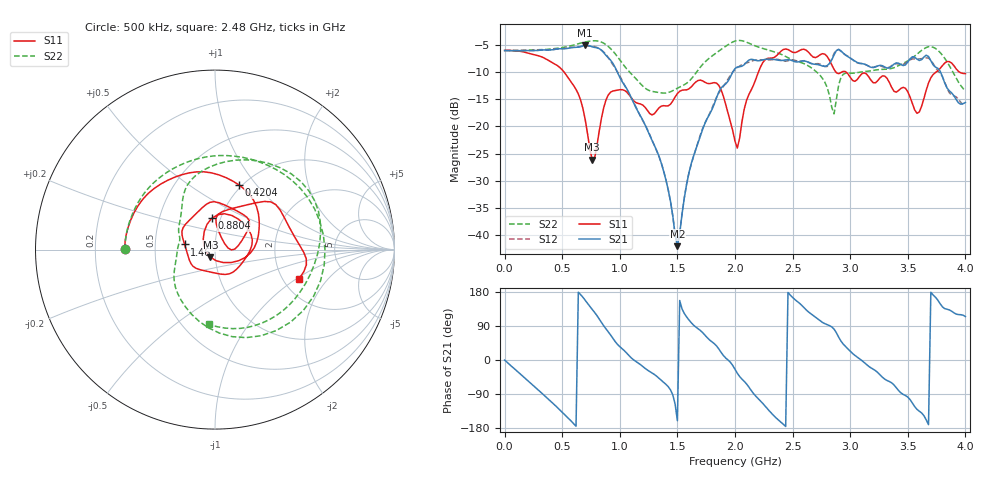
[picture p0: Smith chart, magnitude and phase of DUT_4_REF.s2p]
# Hz S DB R 50
! CMT, S5180, 51801906, 22.3.3/1
! Date: 09/01/2023 15:27:36
! Data: Format (Calibration Info)
! Freq	S11:dB/Ang(F2)	S21:dB/Ang(F2)	S12:dB/Ang(F2)	S22:dB/Ang(F2)
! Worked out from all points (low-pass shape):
!   201 points, 500 kHz to 4 GHz, reference 50 ohm
!   highest |S21| = -5.06 dB at 700.4 MHz (marker M1); lowest = -42.1 dB at 1.5 GHz (marker M2)
!   |S21| within 3 dB of the highest: start of sweep to 929.5 MHz; 2.106 GHz to 2.517 GHz (410.8 MHz wide, 17.8 % of centre)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
!   lowest |S11| = -26.1 dB at 760.4 MHz (marker M3), VSWR 1.10, Z = 47.3 - j3.98 ohm
!   |S11| at or under -10 dB: 516.8 MHz to 2.203 GHz (1.687 GHz wide, 124 % of centre); 2.876 GHz to 2.927 GHz (51.21 MHz wide, 1.76 % of centre); 2.964 GHz to 3.746 GHz (781.4 MHz wide, 23.3 % of centre)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
!   |S22| runs from -17.7 to -4.2 dB; largest |S21 - S12| = 0.03
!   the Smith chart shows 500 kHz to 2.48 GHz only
!   S11 on the Smith chart (normalised r, x): 500 kHz: 0.33, +0.00; 420.4 MHz: 0.97, +0.82; 880.4 MHz: 0.91, +0.33; 1.46 GHz: 0.71, +0.04; 2.48 GHz: 2.43, -1.06
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500000  -6.00 179.9  -6.04 -0.2  -6.04 -0.2  -6.01 179.9
4.204475e8  -8.31 69.4  -5.87 -114.5  -5.86 -114.4  -5.71 95.6
6.80415e8  -16.72 -25.1  -5.17 165.4  -5.23 165.0  -4.54 29.1
7.004125e8  -18.79 -38.9  -5.06 157.7  -5.20 157.5  -4.44 22.3
7.60405e8  -26.14 -121.7  -5.34 133.6  -5.22 134.3  -4.25 0.2
8.8039e8  -15.14 96.0  -6.91 82.3  -6.75 82.2  -4.95 -52.9
1.060368e9  -13.67 7.0  -13.04 18.1  -13.20 16.8  -9.40 -124.0
1.340332e9  -16.60 -135.2  -25.50 -48.2  -25.51 -47.5  -13.76 172.9
1.460318e9  -15.31 170.4  -36.48 -92.1  -36.52 -92.0  -13.42 158.6
1.500312e9  -13.96 156.2  -42.05 -160.2  -42.03 -160.0  -12.97 154.2
1.84027e9  -12.03 40.3  -14.70 37.1  -14.62 35.3  -6.42 88.4
2.00025e9  -22.72 6.8  -9.35 -24.5  -9.57 -25.2  -4.29 38.3
2.260218e9  -7.76 40.5  -7.66 -121.2  -7.75 -121.8  -5.75 -37.0
2.48019e9  -6.11 -19.4  -7.76 171.3  -7.79 171.9  -7.57 -94.7
2.680165e9  -7.25 -79.8  -8.52 117.4  -8.50 117.6  -9.49 -160.8
2.860142e9  -9.51 -150.2  -6.84 81.4  -6.56 81.5  -17.69 3.7
2.980128e9  -10.32 -176.3  -7.16 29.3  -7.08 29.4  -10.18 -175.2
3.340082e9  -11.90 80.0  -9.22 -56.8  -9.09 -56.9  -9.40 80.3
3.580052e9  -17.59 42.7  -7.62 -130.3  -7.58 -128.8  -6.71 25.2
3.68004e9  -12.00 49.2  -7.13 -170.7  -7.43 -168.9  -5.32 -12.2
3.800025e9  -8.82 10.3  -10.79 140.5  -10.83 144.1  -6.87 -72.9
4e9  -10.29 -45.1  -15.60 114.6  -16.01 116.0  -13.51 179.0
